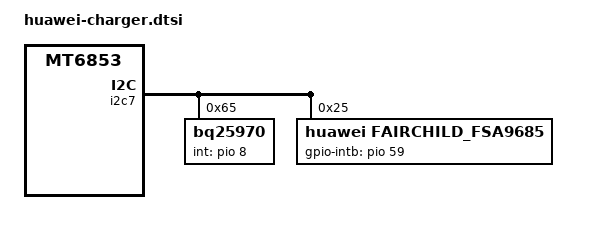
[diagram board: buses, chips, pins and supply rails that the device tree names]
#include "../huawei_charger/mt6853_frl_huawei_charger.dtsi"

&charger {
	bc12_charger = <22>; /* usb switch do bc12 */
};

&pio {
	bq25970_irq_pins_default: bq25970_irq_pins_default {
		pins_cmd_dat {
			pinmux = <PINMUX_GPIO8__FUNC_GPIO8>;
			slew-rate = <0>;
			bias-pull-up;
		};
	};
	fsa9685_irq_pins_default: fsa9685_irq_pins_default {
		pins_cmd_dat {
			pinmux = <PINMUX_GPIO59__FUNC_GPIO59>;
			slew-rate = <0>;
			bias-pull-up;
		};
	};
};

&i2c7 {
	bq25970@65 {
		compatible = "bq25970";
		pinctrl-names = "default";
		pinctrl-0 = <&bq25970_irq_pins_default>;
		gpio_int = <&pio 8 0x0>;
		switching_frequency = <675>;
		sense_r_config = <50>;
		sense_r_actual = <50>;
		reg = <0x65>;
		status = "ok";
	};
	fairchild_fsa9685@25 {
		compatible = "huawei,fairchild_fsa9685";
		reg = <0x25>;
		pinctrl-names = "default";
		pinctrl-0 = <&fsa9685_irq_pins_default>;
		fairchild_fsa9685,gpio-intb = <&pio 59 0x0>;
		fcp_support = <1>;
		scp_support = <1>;
		power_by_5v = <1>;
		close_bc12 = <1>;
		ignore_force_ac = <1>;
		/* for rt8979 */
		interrupt-names = "vbus_change", "device_change", "detach",
				  "attach";
		/* auto_switch; */
		scp;
		dcd;
		dcd_timeout = <600>;  /* ms */
		intb_watchdog = <1000>;  /* ms */
		ovp_sel = <14500000>;  /* uV */
		status = "ok";
	};
};
